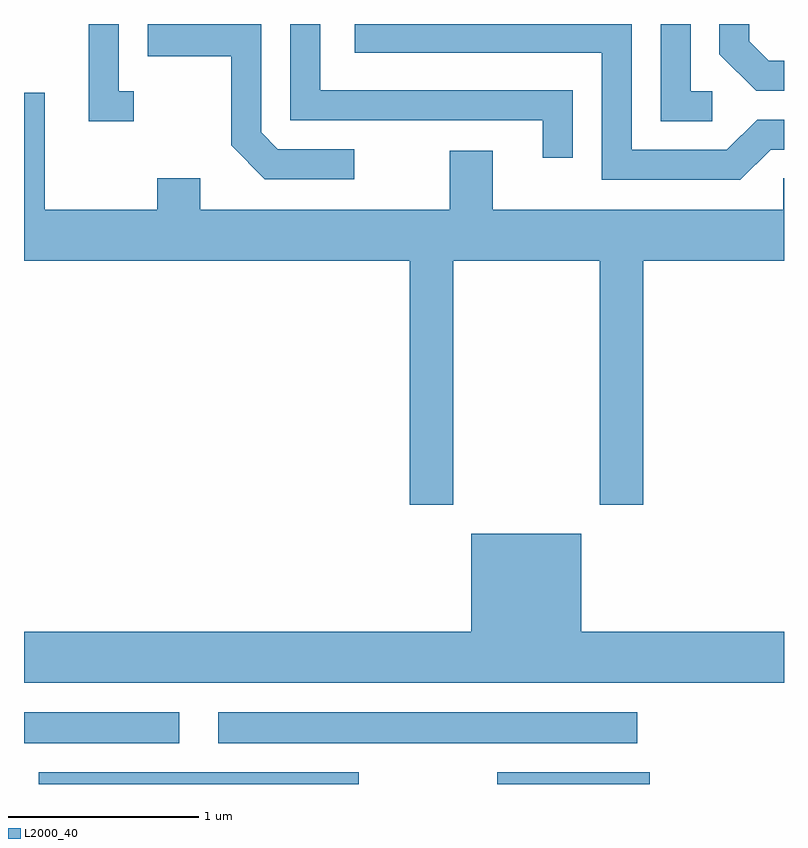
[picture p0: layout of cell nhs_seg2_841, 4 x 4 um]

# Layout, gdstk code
import gdstk
lib = gdstk.Library(unit=1e-6, precision=1e-09)
def R(c, l, rs):  # rectangles x0, y0, x1, y1
    for r in rs: c.add(gdstk.rectangle(r[:2], r[2:], *l))
def P(c, l, *ps):  # polygons
    for p in ps: c.add(gdstk.Polygon(p, *l))
L2000_40 = (2000, 40)

nhs_seg2_841 = lib.new_cell('nhs_seg2_841')
R(nhs_seg2_841, L2000_40, [(209.688,1027.802,211.373,1027.864), (212.103,1027.802,212.904,1027.864), (209.611,1028.016,210.428,1028.179), (210.633,1028.016,212.838,1028.179)])
P(nhs_seg2_841, L2000_40, [(213.611,1031.609),(213.532,1031.609),(213.429,1031.712),(213.429,1031.802),(213.271,1031.802),(213.271,1031.644),(213.464,1031.451),(213.611,1031.451)],
  [(211.348,1031.144),(210.947,1031.144),(210.859,1031.232),(210.859,1031.802),(210.261,1031.802),(210.261,1031.631),(210.701,1031.631),(210.701,1031.164),(210.879,1030.986),(211.348,1030.986)],
  [(210.188,1031.449),(210.109,1031.449),(210.109,1031.802),(209.951,1031.802),(209.951,1031.291),(210.188,1031.291)],
  [(212.499,1031.454),(211.169,1031.454),(211.169,1031.802),(211.011,1031.802),(211.011,1031.296),(212.341,1031.296),(212.341,1031.098),(212.499,1031.098)],
  [(213.233,1031.449),(213.119,1031.449),(213.119,1031.802),(212.961,1031.802),(212.961,1031.291),(213.233,1031.291)],
  [(213.542,1031.141),(213.611,1031.141),(213.611,1031.299),(213.469,1031.299),(213.309,1031.139),(212.809,1031.139),(212.809,1031.802),(211.351,1031.802),(211.351,1031.651),(212.651,1031.651),(212.651,1030.981),(213.382,1030.981)],
  [(211.869,1030.556),(212.641,1030.556),(212.641,1029.271),(212.869,1029.271),(212.869,1030.556),(213.611,1030.556),(213.611,1030.989),(213.606,1030.989),(213.606,1030.824),(212.079,1030.824),(212.079,1031.134),(211.851,1031.134),(211.851,1030.824),(210.539,1030.824),(210.539,1030.989),(210.311,1030.989),(210.311,1030.824),(209.719,1030.824),(209.719,1031.439),(209.611,1031.439),(209.611,1030.556),(211.641,1030.556),(211.641,1029.271),(211.869,1029.271)],
  [(213.611,1028.604),(212.544,1028.604),(212.544,1029.119),(211.966,1029.119),(211.966,1028.604),(209.611,1028.604),(209.611,1028.336),(213.611,1028.336)])

lib.write_gds('nhs_seg2_841.gds')
